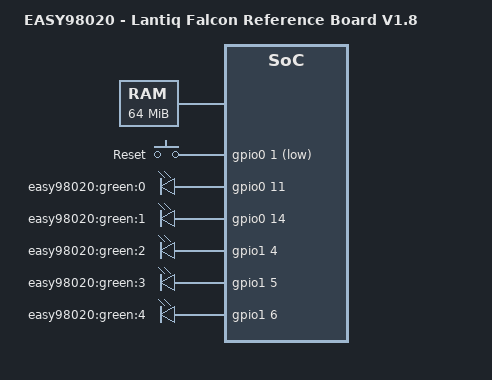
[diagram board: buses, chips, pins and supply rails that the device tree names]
/dts-v1/;

/include/ "falcon.dtsi"

/ {
	model = "EASY98020 - Lantiq Falcon Reference Board V1.8";
	compatible = "lantiq,falcon-easy98020-V18", "lantiq,falcon-easy98020", "lantiq,falcon";

	chosen {
		bootargs-append = "console=ttyLTQ0,115200 init=/etc/preinit";
	};

	memory@0 {
		reg = <0x0 0x4000000>;  // 64M at 0x0
	};

	gpio-keys {
		compatible = "gpio-keys";
		reset {
			label = "Reset";
			gpios = <&gpio0 1 1>; /* GPIO0.1, active low */
			linux,code = <0x100>; /* BTN_X = 0x100 + X */
		};
	};

	pinctrl {
		led_pins: led-pins {
			lantiq,pins = "io11", "io14", "io36", "io37", "io38";
			lantiq,function = "gpio";
		};
	};

	easy98020-leds {
		compatible = "gpio-leds";
		pinctrl-names = "default";
		pinctrl-0 = <&led_pins &bootled_pins>;

		LED_0 {
			label = "easy98020:green:0";
			gpios = <&gpio0 11 0>;
			default-state = "keep";
		};
		LED_1 {
			label = "easy98020:green:1";
			gpios = <&gpio0 14 0>;
			default-state = "keep";
		};
		LED_2 {
			label = "easy98020:green:2";
			gpios = <&gpio1 4 0>;
			default-state = "keep";
		};
		LED_3 {
			label = "easy98020:green:3";
			gpios = <&gpio1 5 0>;
			default-state = "keep";
		};
		LED_4 {
			label = "easy98020:green:4";
			gpios = <&gpio1 6 0>;
			default-state = "keep";
		};
	};
};

&ebu_cs0 {
	#address-cells = <1>;
	#size-cells = <1>;
	compatible = "lantiq,sflash-falcon", "simple-bus";
	busnum = <0>;

	flash@0 {
		#address-cells = <1>;
		#size-cells = <1>;
		compatible = "spansion,s25fl129p0";
		reg = <0 0>;
		linux,mtd-name = "sflash";
		spi-max-frequency = <80000000>;
		m25p,fast-read;

		partition@0 {
			reg = <0x0 0x00080000>;
			label = "SPI (RO) U-Boot Image";
			read-only;
		};

		partition@80000 {
			reg = <0x00080000 0x00080000>;
			label = "SPI (RO) DTB Image";
			read-only;
		};

		partition@100000 {
			reg = <0x00100000 0x00400000>;
			label = "SPI (RO) Linux Kernel Image";
			read-only;
		};
	};
};
